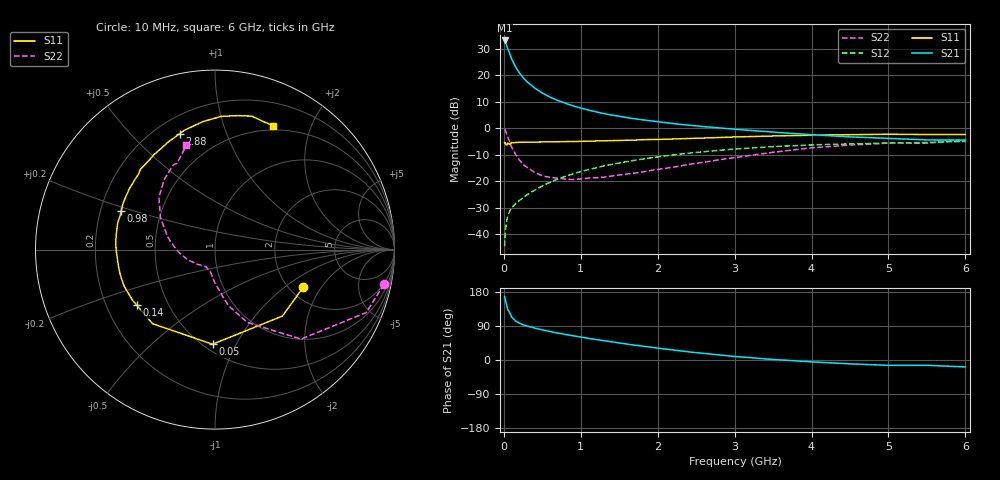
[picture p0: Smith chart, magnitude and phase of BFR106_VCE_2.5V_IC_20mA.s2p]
! Infineon Technologies  Discrete & RF Semiconductors
! BFR106
! VCE =  2.5 V,  IC =  20 mA
! Common Emitter S-Parameters:  Nov 2015
# GHz  S  MA  R  50
!  f  S11  S21  S12  S22
! GHz  MAG  ANG  MAG  ANG  MAG  ANG  MAG  ANG
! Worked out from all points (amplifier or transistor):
!   210 points, 10 MHz to 6 GHz, reference 50 ohm
!   highest |S21| = 33.1 dB at 10 MHz (marker M1)
!   |S21| within 3 dB of that: start of sweep to 50.15 MHz
!   unconditionally stable (mu >= 1): 366.9 MHz to 2.389 GHz; 5.196 GHz to end of sweep
!   at 185 MHz: K = 0.77, MSG = 24.6 dB, |S12| = -27.6 dB
!   at 1.52 GHz: K = 1.06, MAG = 7.1 dB, |S12| = -13.0 dB
!   at 6 GHz: K = 1.01, MAG = -0.4 dB, |S12| = -4.9 dB
!   S11 on the Smith chart (normalised r, x): 10 MHz: 2.36, -1.39; 50 MHz: 0.55, -0.81; 140 MHz: 0.33, -0.29; 980 MHz: 0.29, +0.18; 2.88 GHz: 0.29, +0.70; 6 GHz: 0.45, +1.48
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0.01  0.5345 -23.2  45.12 167.4  0.006 83.4  0.9604 -11.6
0.02  0.5274 -44.6  42.52 156.9  0.0116 71.6  0.9132 -22.6
0.05  0.5274 -91.5  31.98 132.9  0.0223 58.3  0.6916 -46.1
0.1  0.5398 -130.1  20.39 113.4  0.0316 51.1  0.4447 -66.0
0.14  0.535 -144.8  15.56 105.8  0.0363 52.0  0.3458 -73.7
0.15  0.5393 -148.5  14.42 103.1  0.0375 52.2  0.3224 -76.4
0.195  0.5442 -156.8  11.45 98.0  0.0426 54.4  0.2602 -81.0
0.24  0.5456 -163.4  9.395 93.8  0.0479 56.6  0.2169 -85.4
0.3  0.5458 -169.8  7.536 89.5  0.0555 59.3  0.1836 -90.4
0.4  0.5488 -177.3  5.728 84.2  0.0682 62.2  0.1469 -96.6
0.5  0.5537 177.1  4.601 79.4  0.0817 64.1  0.1271 -101.2
0.6  0.5562 172.3  3.865 75.1  0.096 64.5  0.1189 -105.1
0.8  0.5623 164.6  2.943 67.4  0.1241 64.5  0.1103 -115.3
0.98  0.5654 157.6  2.441 61.2  0.1497 63.5  0.1103 -121.5
1.02  0.5678 156.1  2.355 59.8  0.1552 63.2  0.1118 -123.1
1.4  0.586 144.2  1.774 48.1  0.2085 59.2  0.1257 -138.6
2.02  0.616 127.5  1.311 30.8  0.2914 50.6  0.1699 -163.5
2.88  0.6751 106.9  0.991 11.8  0.3925 37.4  0.2647 166.6
3.1  0.691 102.6  0.934 7.9  0.4145 33.8  0.2925 160.0
4.1  0.745 85.9  0.742 -5.9  0.4908 18.4  0.4377 134.4
5.1  0.7689 73.5  0.634 -14.1  0.529 5.5  0.5257 115.8
6  0.763 64.9  0.598 -18.3  0.5678 -4.1  0.6028 105.3
